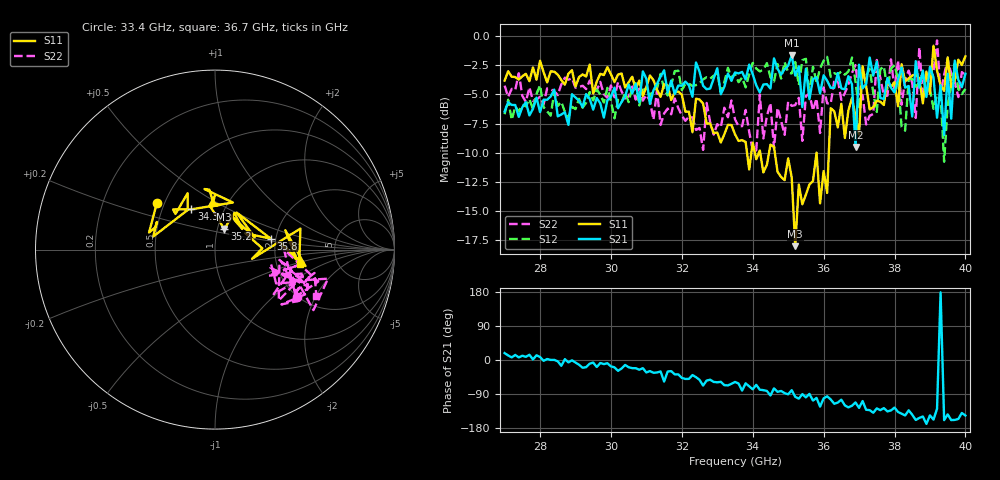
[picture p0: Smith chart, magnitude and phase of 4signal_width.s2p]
! Quiescent point : V1=-1.65691E-02 I1=+1.32245E-03 V2=-2.21305E-02 I2=-1.30027E-03
! Pulsed point : V1=-1.65050E-02 I1=+1.33360E-03 V2=-2.21563E-02 I2=-1.32086E-03
! Period : +2.00000E-04
! Input Supply timing : delay=+1.60000E-06 width=+2.20000E-06
! Output Supply timing : delay=+1.70000E-06 width=+2.00000E-06
! VNA timing : delay=+2.40000E-06 width=+1.10000E-06
# Hz S RI R 50
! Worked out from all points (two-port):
!   131 points, 27 GHz to 40 GHz, reference 50 ohm
!   highest |S21| = -1.65 dB at 35.1 GHz (marker M1); lowest = -9.5 dB at 36.9 GHz (marker M2)
!   |S21| within 3 dB of the highest: 33.15 GHz to 34.17 GHz (1.017 GHz wide, 3.02 % of centre); 34.23 GHz to 35.36 GHz (1.132 GHz wide, 3.25 % of centre)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
!   lowest |S11| = -18.0 dB at 35.2 GHz (marker M3), VSWR 1.29, Z = 53.9 + j12.6 ohm
!   |S11| at or under -10 dB: 34.21 GHz to 34.46 GHz (249.6 MHz wide, 0.727 % of centre); 34.62 GHz to 35.8 GHz (1.176 GHz wide, 3.34 % of centre); 35.8 GHz to 36.15 GHz (347.2 MHz wide, 0.965 % of centre)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
!   |S22| runs from -9.8 to -0.4 dB; largest |S21 - S12| = 0.4
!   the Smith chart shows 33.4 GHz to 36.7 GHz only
!   S11 on the Smith chart (normalised r, x): 33.4 GHz: 0.45, +0.29; 34.3 GHz: 0.70, +0.34; 35.2 GHz: 1.08, +0.25; 35.8 GHz: 1.88, +0.25; 36.7 GHz: 2.72, -0.55
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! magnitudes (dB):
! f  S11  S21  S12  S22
! 27 GHz  -3.8  -6.5  -6.7  -4.2
! 29.2 GHz  -3.3  -6.1  -6.1  -4.3
! 31.4 GHz  -5.2  -3.5  -3.2  -7.6
! 33.4 GHz  -7.6  -3.8  -3.6  -5.5
! 33.5 GHz  -8.4  -3.1  -3.2  -7.1
! 34.3 GHz  -11.7  -4.2  -2.9  -8.8
! 35.1 GHz  -12.1  -1.6  -3.2  -6.0
! 35.2 GHz  -18.0  -3.4  -2.2  -5.9
! 35.7 GHz  -12.4  -3.7  -2.6  -6.4
! 35.8 GHz  -10.0  -3.5  -4.0  -5.3
! 35.9 GHz  -14.3  -4.9  -2.8  -8.3
! 36.2 GHz  -6.2  -4.4  -3.5  -5.8
! 36.7 GHz  -6.4  -3.4  -3.0  -4.1
! 36.9 GHz  -6.8  -9.5  -3.9  -2.5
! 37 GHz  -8.4  -2.5  -6.3  -4.9
! 37.1 GHz  -2.6  -4.5  -3.2  -5.1
! 37.9 GHz  -4.4  -4.4  -2.8  -2.0
! 38.3 GHz  -3.9  -4.4  -8.1  -3.8
! 39.3 GHz  -4.3  -4.2  -5.0  -4.9
! 39.4 GHz  -4.7  -8.5  -10.8  -3.3
! 39.7 GHz  -3.8  -2.1  -2.3  -3.9
! 40 GHz  -1.7  -3.2  -4.5  -3.3
